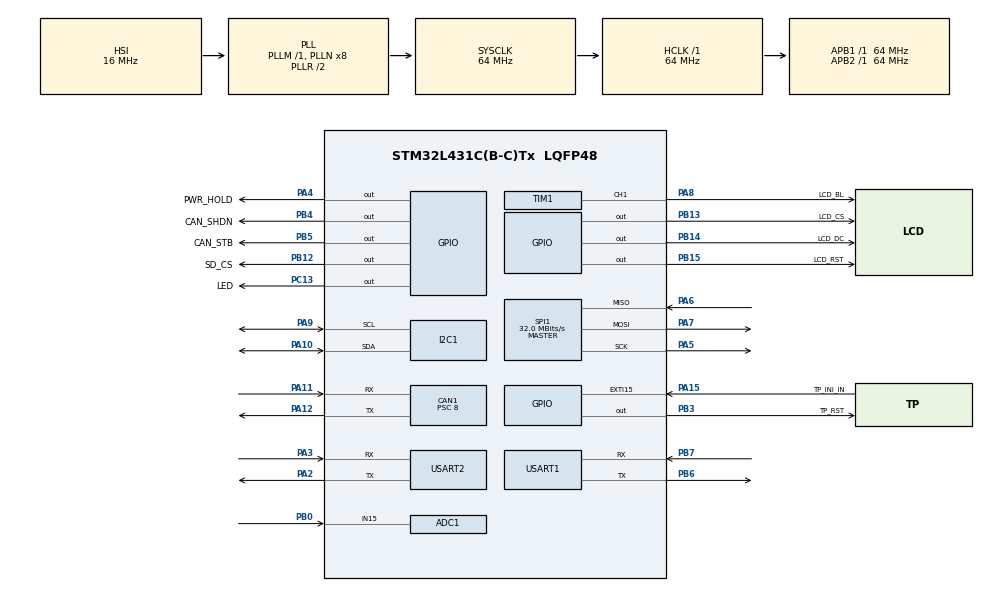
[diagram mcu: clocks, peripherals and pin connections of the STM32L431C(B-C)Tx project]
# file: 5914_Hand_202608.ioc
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ADC1.Channel-1\#ChannelRegularConversion=ADC_CHANNEL_15
ADC1.ClockPrescaler=ADC_CLOCK_ASYNC_DIV256
ADC1.ContinuousConvMode=ENABLE
ADC1.DMAContinuousRequests=ENABLE
ADC1.NbrOfConversion=1
ADC1.NbrOfConversionFlag=1
ADC1.OffsetNumber-1\#ChannelRegularConversion=ADC_OFFSET_NONE
ADC1.Rank-1\#ChannelRegularConversion=1
ADC1.SamplingTime-1\#ChannelRegularConversion=ADC_SAMPLETIME_640CYCLES_5
ADC1.master=1
CAN1.BS1=CAN_BS1_10TQ
CAN1.BS2=CAN_BS2_5TQ
CAN1.CalculateBaudRate=500000
CAN1.CalculateTimeBit=2000
CAN1.CalculateTimeQuantum=125.0
CAN1.Prescaler=8
Dma.ADC1.3.Direction=DMA_PERIPH_TO_MEMORY
Dma.ADC1.3.Instance=DMA1_Channel1
Dma.ADC1.3.MemDataAlignment=DMA_MDATAALIGN_HALFWORD
Dma.ADC1.3.MemInc=DMA_MINC_ENABLE
Dma.ADC1.3.Mode=DMA_CIRCULAR
Dma.ADC1.3.PeriphDataAlignment=DMA_PDATAALIGN_HALFWORD
Dma.ADC1.3.PeriphInc=DMA_PINC_DISABLE
Dma.ADC1.3.Priority=DMA_PRIORITY_LOW
Dma.Request0=SPI1_TX
Dma.Request1=USART1_TX
Dma.Request2=USART2_TX
Dma.Request3=ADC1
Dma.Request4=USART2_RX
Dma.Request5=USART1_RX
Dma.SPI1_TX.0.Direction=DMA_MEMORY_TO_PERIPH
Dma.SPI1_TX.0.Instance=DMA1_Channel3
Dma.SPI1_TX.0.MemDataAlignment=DMA_MDATAALIGN_BYTE
Dma.SPI1_TX.0.MemInc=DMA_MINC_ENABLE
Dma.SPI1_TX.0.Mode=DMA_NORMAL
Dma.SPI1_TX.0.PeriphDataAlignment=DMA_PDATAALIGN_BYTE
Dma.SPI1_TX.0.PeriphInc=DMA_PINC_DISABLE
Dma.SPI1_TX.0.Priority=DMA_PRIORITY_LOW
Dma.USART1_RX.5.Direction=DMA_PERIPH_TO_MEMORY
Dma.USART1_RX.5.Instance=DMA1_Channel5
Dma.USART1_RX.5.MemDataAlignment=DMA_MDATAALIGN_BYTE
Dma.USART1_RX.5.MemInc=DMA_MINC_ENABLE
Dma.USART1_RX.5.Mode=DMA_NORMAL
Dma.USART1_RX.5.PeriphDataAlignment=DMA_PDATAALIGN_BYTE
Dma.USART1_RX.5.PeriphInc=DMA_PINC_DISABLE
Dma.USART1_RX.5.Priority=DMA_PRIORITY_LOW
Dma.USART1_TX.1.Direction=DMA_MEMORY_TO_PERIPH
Dma.USART1_TX.1.Instance=DMA1_Channel4
Dma.USART1_TX.1.MemDataAlignment=DMA_MDATAALIGN_BYTE
Dma.USART1_TX.1.MemInc=DMA_MINC_ENABLE
Dma.USART1_TX.1.Mode=DMA_NORMAL
Dma.USART1_TX.1.PeriphDataAlignment=DMA_PDATAALIGN_BYTE
Dma.USART1_TX.1.PeriphInc=DMA_PINC_DISABLE
Dma.USART1_TX.1.Priority=DMA_PRIORITY_LOW
Dma.USART2_RX.4.Direction=DMA_PERIPH_TO_MEMORY
Dma.USART2_RX.4.Instance=DMA1_Channel6
Dma.USART2_RX.4.MemDataAlignment=DMA_MDATAALIGN_BYTE
Dma.USART2_RX.4.MemInc=DMA_MINC_ENABLE
Dma.USART2_RX.4.Mode=DMA_NORMAL
Dma.USART2_RX.4.PeriphDataAlignment=DMA_PDATAALIGN_BYTE
Dma.USART2_RX.4.PeriphInc=DMA_PINC_DISABLE
Dma.USART2_RX.4.Priority=DMA_PRIORITY_LOW
Dma.USART2_TX.2.Direction=DMA_MEMORY_TO_PERIPH
Dma.USART2_TX.2.Instance=DMA1_Channel7
Dma.USART2_TX.2.MemDataAlignment=DMA_MDATAALIGN_BYTE
Dma.USART2_TX.2.MemInc=DMA_MINC_ENABLE
Dma.USART2_TX.2.Mode=DMA_NORMAL
Dma.USART2_TX.2.PeriphDataAlignment=DMA_PDATAALIGN_BYTE
Dma.USART2_TX.2.PeriphInc=DMA_PINC_DISABLE
Dma.USART2_TX.2.Priority=DMA_PRIORITY_LOW
FATFS._MAX_SS=4096
FATFS._USE_LFN=1
I2C1.Timing=0x10B17DB5
Mcu.Family=STM32L4
Mcu.Name=STM32L431C(B-C)Tx
Mcu.Package=LQFP48
NVIC.ADC1_IRQn=true\:0\:0\:false\:false\:true\:true\:true\:true
NVIC.DMA1_Channel1_IRQn=true\:0\:0\:false\:false\:true\:false\:true\:true
NVIC.DMA1_Channel3_IRQn=true\:0\:0\:false\:false\:true\:false\:true\:true
NVIC.DMA1_Channel4_IRQn=true\:0\:0\:false\:false\:true\:false\:true\:true
NVIC.DMA1_Channel5_IRQn=true\:0\:0\:false\:false\:true\:false\:true\:true
NVIC.DMA1_Channel6_IRQn=true\:0\:0\:false\:false\:true\:false\:true\:true
NVIC.DMA1_Channel7_IRQn=true\:0\:0\:false\:false\:true\:false\:true\:true
NVIC.EXTI15_10_IRQn=true\:0\:0\:false\:false\:true\:true\:true\:true
NVIC.PriorityGroup=NVIC_PRIORITYGROUP_4
NVIC.SPI1_IRQn=true\:0\:0\:false\:false\:true\:true\:true\:true
NVIC.USART1_IRQn=true\:0\:0\:false\:false\:true\:false\:true\:true
NVIC.USART2_IRQn=true\:0\:0\:false\:false\:true\:false\:true\:true
PA10.Mode=I2C
PA10.Signal=I2C1_SDA
PA11.Mode=CAN_Activate
PA11.Signal=CAN1_RX
PA12.Mode=CAN_Activate
PA12.Signal=CAN1_TX
PA13\ (JTMS-SWDIO).Mode=Serial_Wire
PA13\ (JTMS-SWDIO).Signal=SYS_JTMS-SWDIO
PA14\ (JTCK-SWCLK).Mode=Serial_Wire
PA14\ (JTCK-SWCLK).Signal=SYS_JTCK-SWCLK
PA15\ (JTDI).GPIO_Label=TP_INI_IN
PA15\ (JTDI).Signal=GPXTI15
PA2.Mode=Asynchronous
PA2.Signal=USART2_TX
PA3.Mode=Asynchronous
PA3.Signal=USART2_RX
PA4.GPIO_Label=PWR_HOLD
PA4.Signal=GPIO_Output
PA5.GPIO_PuPd=GPIO_PULLUP
PA5.Mode=Full_Duplex_Master
PA5.Signal=SPI1_SCK
PA6.GPIO_PuPd=GPIO_PULLUP
PA6.Mode=Full_Duplex_Master
PA6.Signal=SPI1_MISO
PA7.GPIO_PuPd=GPIO_PULLUP
PA7.Mode=Full_Duplex_Master
PA7.Signal=SPI1_MOSI
PA8.GPIO_Label=LCD_BL
PA8.Signal=S_TIM1_CH1
PA9.Mode=I2C
PA9.Signal=I2C1_SCL
PB0.Signal=ADCx_IN15
PB12.GPIO_Label=SD_CS
PB12.PinState=GPIO_PIN_SET
PB12.Signal=GPIO_Output
PB13.GPIO_Label=LCD_CS
PB13.PinState=GPIO_PIN_SET
PB13.Signal=GPIO_Output
PB14.GPIO_Label=LCD_DC
PB14.Signal=GPIO_Output
PB15.GPIO_Label=LCD_RST
PB15.Signal=GPIO_Output
PB3\ (JTDO-TRACESWO).GPIO_Label=TP_RST
PB3\ (JTDO-TRACESWO).Signal=GPIO_Output
PB4\ (NJTRST).GPIO_Label=CAN_SHDN
PB4\ (NJTRST).Signal=GPIO_Output
PB5.GPIO_Label=CAN_STB
PB5.Signal=GPIO_Output
PB6.Mode=Asynchronous
PB6.Signal=USART1_TX
PB7.Mode=Asynchronous
PB7.Signal=USART1_RX
PC13.GPIO_Label=LED
PC13.Signal=GPIO_Output
PC14-OSC32_IN\ (PC14).Mode=LSE-External-Oscillator
PC14-OSC32_IN\ (PC14).Signal=RCC_OSC32_IN
PC15-OSC32_OUT\ (PC15).Mode=LSE-External-Oscillator
PC15-OSC32_OUT\ (PC15).Signal=RCC_OSC32_OUT
ProjectManager.HeapSize=0x200
ProjectManager.StackSize=0x400
ProjectManager.TargetToolchain=STM32CubeIDE
RCC.ADCFreq_Value=64000000
RCC.AHBFreq_Value=64000000
RCC.APB1Freq_Value=64000000
RCC.APB1TimFreq_Value=64000000
RCC.APB2Freq_Value=64000000
RCC.APB2TimFreq_Value=64000000
RCC.CortexFreq_Value=64000000
RCC.HCLKFreq_Value=64000000
RCC.HSE_VALUE=8000000
RCC.HSI48_VALUE=48000000
RCC.HSI_VALUE=16000000
RCC.MSI_VALUE=4000000
RCC.PLLSourceVirtual=RCC_PLLSOURCE_HSI
RCC.RTCClockSelection=RCC_RTCCLKSOURCE_LSE
RCC.SYSCLKFreq_VALUE=64000000
RCC.SYSCLKSource=RCC_SYSCLKSOURCE_PLLCLK
RCC.VCOOutputFreq_Value=128000000
SH.ADCx_IN15.0=ADC1_IN15,IN15-Single-Ended
SH.S_TIM1_CH1.0=TIM1_CH1,PWM Generation1 CH1
SPI1.BaudRatePrescaler=SPI_BAUDRATEPRESCALER_2
SPI1.CalculateBaudRate=32.0 MBits/s
SPI1.DataSize=SPI_DATASIZE_8BIT
SPI1.Direction=SPI_DIRECTION_2LINES
SPI1.Mode=SPI_MODE_MASTER
SPI1.VirtualType=VM_MASTER
TIM1.Channel-PWM\ Generation1\ CH1=TIM_CHANNEL_1
TIM1.Period=1000 - 1
TIM1.Prescaler=300 - 1
USART1.VirtualMode-Asynchronous=VM_ASYNC
USART2.VirtualMode-Asynchronous=VM_ASYNC
VP_FATFS_VS_Generic.Mode=User_defined
VP_RTC_VS_RTC_Activate.Mode=RTC_Enabled
VP_TIM1_VS_ClockSourceINT.Mode=Internal
board=custom

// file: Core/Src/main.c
/* USER CODE BEGIN Header */
/**	Project	-	5914_Hand_202607	(Formerly 5914_Bt_Remote_202512)
 *
 * On GitHub	-	https://github.com/Jons-Workshop/5914_Bt_Remote_202512.git *** PLEASE UPDATE ***
 *
 * 	Author	-	Jon Freeman  B Eng Hons MIET
 * 	16th July 2026
 *
 *	//	This is the Bluetooth Hand Controller with 320x480 Graphic Touch Screen
 *
 *	No eeprom or 'settings' here. Any required will be supplied over bluetooth from Bluetooth_HC_Loco_Interface_202508 unit
 *
 * https://www.waveshare.com/3.5inch-Capacitive-Touch-LCD.htm
 * https://www.buydisplay.com/download/ic/FT6236-FT6336-FT6436L-FT6436_Datasheet.pdf
 *
 * 3.5inch Capacitive Touch Display Module, 320×480 Resolution,
 * Embedded with ST7796S Display Driver and FT6336U Capacitive Touch Controller, IPS Display
 *
 * Note 3V3 and Vcc both to +3V3.
 * SPI "Transmit Only Master", using DMA for very fast display updates
 * July 12th 2026 SPI now *Full Duplex Master* DMA Tx+Rx to include use of SD card mounted on display. Looking at FAT file system
 *
 * July 2026 - Proper PCB design done at last. Powered by 3v7 lithium 18650 cell
 * New output to EN of regulator so that unit can switch itself off
 *
 *	***	How do HC and LC connect ?	***
 *
 *	Arbitrary decisions,
 *	Bluetooth modules are 'paired', we have no control over their 'connecting' process. Connection only proved by working comms.
 *	HC to issue "p/r" speculatively maybe 20 times per second whenever not connected. This is our 'ping'.
 *	LC receiving "p/r" to echo "p/r".
 *	HC receiving "p/r" increments 'received_pings', which means must be 'Connected'
 *
 *	LC/HC to assume no comms from HC/LC for > ?? ms means 'Disconnected'
 *
 *
 *
  ******************************************************************************
  * @file           : main.c
  * @brief          : Main program body
  ******************************************************************************
  * @attention
  *
  * Copyright (c) 2026 STMicroelectronics.
  * All rights reserved.
  *
  * This software is licensed under terms that can be found in the LICENSE file
  * in the root directory of this software component.
  * If no LICENSE file comes with this software, it is provided AS-IS.
  *
  ******************************************************************************
  */
/* USER CODE END Header */
#include "main.h"
#include "fatfs.h"

/* USER CODE BEGIN Includes */
#include	<stdbool.h>
#include	"st7796s.h"		//	Display Driver IC
#include	"colours.h"
#include	"fonts.h"
#include	<string.h>
#include	<math.h>

/* USER CODE END Includes */

/* USER CODE BEGIN PM */
//#define FT6X36_ID    0xCDU	//	Wrong
#define FT6X36_ID      0x70		//	Found by testing all possible addresses, this was the sole responder to pull 'ACK' low
#define	PROPER_PCB	*****	SEE main.h	*****	for #defines for all sorts

#ifdef	PROPER_PCB
#define	TS_INT_IN_PIN	GPIO_PIN_15
#else
#define	TS_INT_IN_PIN	GPIO_PIN_0
#endif

/* USER CODE END PM */

ADC_HandleTypeDef hadc1;
DMA_HandleTypeDef hdma_adc1;

CAN_HandleTypeDef hcan1;

I2C_HandleTypeDef hi2c1;

RTC_HandleTypeDef hrtc;

SPI_HandleTypeDef hspi1;
DMA_HandleTypeDef hdma_spi1_tx;

TIM_HandleTypeDef htim1;

UART_HandleTypeDef huart1;
UART_HandleTypeDef huart2;
DMA_HandleTypeDef hdma_usart1_tx;
DMA_HandleTypeDef hdma_usart1_rx;
DMA_HandleTypeDef hdma_usart2_tx;
DMA_HandleTypeDef hdma_usart2_rx;

/* USER CODE BEGIN PV */
uint32_t	touch_time	= 0 ;
uint32_t	exti_cnt = 0;
uint32_t	spi_tx_cplt_callback_cnt	= 0	;
bool		spi_tx_cplt = true;
bool		exti_flag = false;
bool		Bluetooth_connected_pres = false;
bool		Bluetooth_connected_prev = false;
bool	quarter_sec;
bool	ms10;

float	V_Loco_Batt = 0.0;
float	V_HC_Batt = 0.0;
float	I_Loco_Batt = 0.0;
float	Loco_Speed = 0.0;

/* USER CODE END PV */

void SystemClock_Config(void);
static void MX_GPIO_Init(void);
static void MX_DMA_Init(void);
static void MX_SPI1_Init(void);
static void MX_I2C1_Init(void);
static void MX_RTC_Init(void);
static void MX_TIM1_Init(void);
static void MX_USART1_UART_Init(void);
static void MX_USART2_UART_Init(void);
static void MX_CAN1_Init(void);
static void MX_ADC1_Init(void);
/* USER CODE BEGIN PFP */

void 	st7796_init(void)	;	//	Display Driver IC
void	spi_tx	(uint8_t * pData, uint16_t Size)	;
bool	DrawBar	(size_t Xstart, size_t Ystart, size_t Xend, size_t Yend, uint16_t Colour)	;
bool	DrawString	(size_t const x, size_t const y, const char * const str, sFONT* Font, uint16_t const BG_Col, uint16_t const FG_Col)	;

extern	void	ForeverLoop	()	;

/* USER CODE END PFP */

int main(void)
{

  /* MCU Configuration--------------------------------------------------------*/

  /* Reset of all peripherals, Initializes the Flash interface and the Systick. */
  HAL_Init();

  /* Configure the system clock */
  SystemClock_Config();

  /* Initialize all configured peripherals */
  MX_GPIO_Init();
  MX_DMA_Init();
  MX_SPI1_Init();
  MX_I2C1_Init();
  MX_RTC_Init();
  MX_TIM1_Init();
  MX_USART1_UART_Init();
  MX_USART2_UART_Init();
  MX_CAN1_Init();
  MX_FATFS_Init();
  MX_ADC1_Init();
  /* USER CODE BEGIN 2 */

  HAL_TIM_PWM_Start	(&htim1, TIM_CHANNEL_1);	//	pwm for LCD backlight
//  HAL_GPIO_WritePin(PWR_HOLD_GPIO_Port, PWR_HOLD_Pin, GPIO_PIN_SET);	//	Latch power ON
  st7796_init	();	//	Display Driver IC
  TIM1->CCR1 = 980;	//	display bril 0 - 999
//  display_test	();

  ForeverLoop	()	;

  /* USER CODE END 2 */

  /* Infinite loop */
  /* USER CODE BEGIN WHILE */
  while (1)
  {
//	  HAL_GPIO_WritePin(LED_GPIO_Port, LED_Pin, GPIO_PIN_RESET);
//	  HAL_Delay	(200);
//	  HAL_GPIO_WritePin(LED_GPIO_Port, LED_Pin, GPIO_PIN_SET);
//	  HAL_Delay	(200);
    /* USER CODE END WHILE */

  }
}

void SystemClock_Config(void)
{
  RCC_OscInitTypeDef RCC_OscInitStruct = {0};
  RCC_ClkInitTypeDef RCC_ClkInitStruct = {0};

  /** Configure the main internal regulator output voltage
  */
  if (HAL_PWREx_ControlVoltageScaling(PWR_REGULATOR_VOLTAGE_SCALE1) != HAL_OK)
  {
    Error_Handler();
  }

  /** Configure LSE Drive Capability
  */
  HAL_PWR_EnableBkUpAccess();
  __HAL_RCC_LSEDRIVE_CONFIG(RCC_LSEDRIVE_LOW);

  /** Initializes the RCC Oscillators according to the specified parameters
  * in the RCC_OscInitTypeDef structure.
  */
  RCC_OscInitStruct.OscillatorType = RCC_OSCILLATORTYPE_HSI|RCC_OSCILLATORTYPE_LSE;
  RCC_OscInitStruct.LSEState = RCC_LSE_ON;
  RCC_OscInitStruct.HSIState = RCC_HSI_ON;
  RCC_OscInitStruct.HSICalibrationValue = RCC_HSICALIBRATION_DEFAULT;
  RCC_OscInitStruct.PLL.PLLState = RCC_PLL_ON;
  RCC_OscInitStruct.PLL.PLLSource = RCC_PLLSOURCE_HSI;
  RCC_OscInitStruct.PLL.PLLM = 1;
  RCC_OscInitStruct.PLL.PLLN = 8;
  RCC_OscInitStruct.PLL.PLLP = RCC_PLLP_DIV7;
  RCC_OscInitStruct.PLL.PLLQ = RCC_PLLQ_DIV2;
  RCC_OscInitStruct.PLL.PLLR = RCC_PLLR_DIV2;
  if (HAL_RCC_OscConfig(&RCC_OscInitStruct) != HAL_OK)
  {
    Error_Handler();
  }

  /** Initializes the CPU, AHB and APB buses clocks
  */
  RCC_ClkInitStruct.ClockType = RCC_CLOCKTYPE_HCLK|RCC_CLOCKTYPE_SYSCLK
                              |RCC_CLOCKTYPE_PCLK1|RCC_CLOCKTYPE_PCLK2;
  RCC_ClkInitStruct.SYSCLKSource = RCC_SYSCLKSOURCE_PLLCLK;
  RCC_ClkInitStruct.AHBCLKDivider = RCC_SYSCLK_DIV1;
  RCC_ClkInitStruct.APB1CLKDivider = RCC_HCLK_DIV1;
  RCC_ClkInitStruct.APB2CLKDivider = RCC_HCLK_DIV1;

  if (HAL_RCC_ClockConfig(&RCC_ClkInitStruct, FLASH_LATENCY_3) != HAL_OK)
  {
    Error_Handler();
  }
}

static void MX_ADC1_Init(void)
{

  ADC_ChannelConfTypeDef sConfig = {0};

  /** Common config
  */
  hadc1.Instance = ADC1;
  hadc1.Init.ClockPrescaler = ADC_CLOCK_ASYNC_DIV256;
  hadc1.Init.Resolution = ADC_RESOLUTION_12B;
  hadc1.Init.DataAlign = ADC_DATAALIGN_RIGHT;
  hadc1.Init.ScanConvMode = ADC_SCAN_DISABLE;
  hadc1.Init.EOCSelection = ADC_EOC_SINGLE_CONV;
  hadc1.Init.LowPowerAutoWait = DISABLE;
  hadc1.Init.ContinuousConvMode = ENABLE;
  hadc1.Init.NbrOfConversion = 1;
  hadc1.Init.DiscontinuousConvMode = DISABLE;
  hadc1.Init.ExternalTrigConv = ADC_SOFTWARE_START;
  hadc1.Init.ExternalTrigConvEdge = ADC_EXTERNALTRIGCONVEDGE_NONE;
  hadc1.Init.DMAContinuousRequests = ENABLE;
  hadc1.Init.Overrun = ADC_OVR_DATA_PRESERVED;
  hadc1.Init.OversamplingMode = DISABLE;
  if (HAL_ADC_Init(&hadc1) != HAL_OK)
  {
    Error_Handler();
  }

  /** Configure Regular Channel
  */
  sConfig.Channel = ADC_CHANNEL_15;
  sConfig.Rank = ADC_REGULAR_RANK_1;
  sConfig.SamplingTime = ADC_SAMPLETIME_640CYCLES_5;
  sConfig.SingleDiff = ADC_SINGLE_ENDED;
  sConfig.OffsetNumber = ADC_OFFSET_NONE;
  sConfig.Offset = 0;
  if (HAL_ADC_ConfigChannel(&hadc1, &sConfig) != HAL_OK)
  {
    Error_Handler();
  }

}

static void MX_CAN1_Init(void)
{

  hcan1.Instance = CAN1;
  hcan1.Init.Prescaler = 8;
  hcan1.Init.Mode = CAN_MODE_NORMAL;
  hcan1.Init.SyncJumpWidth = CAN_SJW_1TQ;
  hcan1.Init.TimeSeg1 = CAN_BS1_10TQ;
  hcan1.Init.TimeSeg2 = CAN_BS2_5TQ;
  hcan1.Init.TimeTriggeredMode = DISABLE;
  hcan1.Init.AutoBusOff = DISABLE;
  hcan1.Init.AutoWakeUp = DISABLE;
  hcan1.Init.AutoRetransmission = DISABLE;
  hcan1.Init.ReceiveFifoLocked = DISABLE;
  hcan1.Init.TransmitFifoPriority = DISABLE;
  if (HAL_CAN_Init(&hcan1) != HAL_OK)
  {
    Error_Handler();
  }

}

static void MX_I2C1_Init(void)
{

  hi2c1.Instance = I2C1;
  hi2c1.Init.Timing = 0x10B17DB5;
  hi2c1.Init.OwnAddress1 = 0;
  hi2c1.Init.AddressingMode = I2C_ADDRESSINGMODE_7BIT;
  hi2c1.Init.DualAddressMode = I2C_DUALADDRESS_DISABLE;
  hi2c1.Init.OwnAddress2 = 0;
  hi2c1.Init.OwnAddress2Masks = I2C_OA2_NOMASK;
  hi2c1.Init.GeneralCallMode = I2C_GENERALCALL_DISABLE;
  hi2c1.Init.NoStretchMode = I2C_NOSTRETCH_DISABLE;
  if (HAL_I2C_Init(&hi2c1) != HAL_OK)
  {
    Error_Handler();
  }

  /** Configure Analogue filter
  */
  if (HAL_I2CEx_ConfigAnalogFilter(&hi2c1, I2C_ANALOGFILTER_ENABLE) != HAL_OK)
  {
    Error_Handler();
  }

  /** Configure Digital filter
  */
  if (HAL_I2CEx_ConfigDigitalFilter(&hi2c1, 0) != HAL_OK)
  {
    Error_Handler();
  }

}

static void MX_RTC_Init(void)
{

  /** Initialize RTC Only
  */
  hrtc.Instance = RTC;
  hrtc.Init.HourFormat = RTC_HOURFORMAT_24;
  hrtc.Init.AsynchPrediv = 127;
  hrtc.Init.SynchPrediv = 255;
  hrtc.Init.OutPut = RTC_OUTPUT_DISABLE;
  hrtc.Init.OutPutRemap = RTC_OUTPUT_REMAP_NONE;
  hrtc.Init.OutPutPolarity = RTC_OUTPUT_POLARITY_HIGH;
  hrtc.Init.OutPutType = RTC_OUTPUT_TYPE_OPENDRAIN;
  if (HAL_RTC_Init(&hrtc) != HAL_OK)
  {
    Error_Handler();
  }

}

static void MX_SPI1_Init(void)
{

  /* SPI1 parameter configuration*/
  hspi1.Instance = SPI1;
  hspi1.Init.Mode = SPI_MODE_MASTER;
  hspi1.Init.Direction = SPI_DIRECTION_2LINES;
  hspi1.Init.DataSize = SPI_DATASIZE_8BIT;
  hspi1.Init.CLKPolarity = SPI_POLARITY_LOW;
  hspi1.Init.CLKPhase = SPI_PHASE_1EDGE;
  hspi1.Init.NSS = SPI_NSS_SOFT;
  hspi1.Init.BaudRatePrescaler = SPI_BAUDRATEPRESCALER_2;
  hspi1.Init.FirstBit = SPI_FIRSTBIT_MSB;
  hspi1.Init.TIMode = SPI_TIMODE_DISABLE;
  hspi1.Init.CRCCalculation = SPI_CRCCALCULATION_DISABLE;
  hspi1.Init.CRCPolynomial = 7;
  hspi1.Init.CRCLength = SPI_CRC_LENGTH_DATASIZE;
  hspi1.Init.NSSPMode = SPI_NSS_PULSE_ENABLE;
  if (HAL_SPI_Init(&hspi1) != HAL_OK)
  {
    Error_Handler();
  }

}

static void MX_TIM1_Init(void)
{

  TIM_ClockConfigTypeDef sClockSourceConfig = {0};
  TIM_MasterConfigTypeDef sMasterConfig = {0};
  TIM_OC_InitTypeDef sConfigOC = {0};
  TIM_BreakDeadTimeConfigTypeDef sBreakDeadTimeConfig = {0};

  htim1.Instance = TIM1;
  htim1.Init.Prescaler = 300 - 1;
  htim1.Init.CounterMode = TIM_COUNTERMODE_UP;
  htim1.Init.Period = 1000 - 1;
  htim1.Init.ClockDivision = TIM_CLOCKDIVISION_DIV1;
  htim1.Init.RepetitionCounter = 0;
  htim1.Init.AutoReloadPreload = TIM_AUTORELOAD_PRELOAD_DISABLE;
  if (HAL_TIM_Base_Init(&htim1) != HAL_OK)
  {
    Error_Handler();
  }
  sClockSourceConfig.ClockSource = TIM_CLOCKSOURCE_INTERNAL;
  if (HAL_TIM_ConfigClockSource(&htim1, &sClockSourceConfig) != HAL_OK)
  {
    Error_Handler();
  }
  if (HAL_TIM_PWM_Init(&htim1) != HAL_OK)
  {
    Error_Handler();
  }
  sMasterConfig.MasterOutputTrigger = TIM_TRGO_RESET;
  sMasterConfig.MasterOutputTrigger2 = TIM_TRGO2_RESET;
  sMasterConfig.MasterSlaveMode = TIM_MASTERSLAVEMODE_DISABLE;
  if (HAL_TIMEx_MasterConfigSynchronization(&htim1, &sMasterConfig) != HAL_OK)
  {
    Error_Handler();
  }
  sConfigOC.OCMode = TIM_OCMODE_PWM1;
  sConfigOC.Pulse = 0;
  sConfigOC.OCPolarity = TIM_OCPOLARITY_HIGH;
  sConfigOC.OCNPolarity = TIM_OCNPOLARITY_HIGH;
  sConfigOC.OCFastMode = TIM_OCFAST_DISABLE;
  sConfigOC.OCIdleState = TIM_OCIDLESTATE_RESET;
  sConfigOC.OCNIdleState = TIM_OCNIDLESTATE_RESET;
  if (HAL_TIM_PWM_ConfigChannel(&htim1, &sConfigOC, TIM_CHANNEL_1) != HAL_OK)
  {
    Error_Handler();
  }
  sBreakDeadTimeConfig.OffStateRunMode = TIM_OSSR_DISABLE;
  sBreakDeadTimeConfig.OffStateIDLEMode = TIM_OSSI_DISABLE;
  sBreakDeadTimeConfig.LockLevel = TIM_LOCKLEVEL_OFF;
  sBreakDeadTimeConfig.DeadTime = 0;
  sBreakDeadTimeConfig.BreakState = TIM_BREAK_DISABLE;
  sBreakDeadTimeConfig.BreakPolarity = TIM_BREAKPOLARITY_HIGH;
  sBreakDeadTimeConfig.BreakFilter = 0;
  sBreakDeadTimeConfig.Break2State = TIM_BREAK2_DISABLE;
  sBreakDeadTimeConfig.Break2Polarity = TIM_BREAK2POLARITY_HIGH;
  sBreakDeadTimeConfig.Break2Filter = 0;
  sBreakDeadTimeConfig.AutomaticOutput = TIM_AUTOMATICOUTPUT_DISABLE;
  if (HAL_TIMEx_ConfigBreakDeadTime(&htim1, &sBreakDeadTimeConfig) != HAL_OK)
  {
    Error_Handler();
  }
  HAL_TIM_MspPostInit(&htim1);

}

static void MX_USART1_UART_Init(void)
{

  huart1.Instance = USART1;
  huart1.Init.BaudRate = 115200;
  huart1.Init.WordLength = UART_WORDLENGTH_8B;
  huart1.Init.StopBits = UART_STOPBITS_1;
  huart1.Init.Parity = UART_PARITY_NONE;
  huart1.Init.Mode = UART_MODE_TX_RX;
  huart1.Init.HwFlowCtl = UART_HWCONTROL_NONE;
  huart1.Init.OverSampling = UART_OVERSAMPLING_16;
  huart1.Init.OneBitSampling = UART_ONE_BIT_SAMPLE_DISABLE;
  huart1.AdvancedInit.AdvFeatureInit = UART_ADVFEATURE_NO_INIT;
  if (HAL_UART_Init(&huart1) != HAL_OK)
  {
    Error_Handler();
  }

}

static void MX_USART2_UART_Init(void)
{

  huart2.Instance = USART2;
  huart2.Init.BaudRate = 115200;
  huart2.Init.WordLength = UART_WORDLENGTH_8B;
  huart2.Init.StopBits = UART_STOPBITS_1;
  huart2.Init.Parity = UART_PARITY_NONE;
  huart2.Init.Mode = UART_MODE_TX_RX;
  huart2.Init.HwFlowCtl = UART_HWCONTROL_NONE;
  huart2.Init.OverSampling = UART_OVERSAMPLING_16;
  huart2.Init.OneBitSampling = UART_ONE_BIT_SAMPLE_DISABLE;
  huart2.AdvancedInit.AdvFeatureInit = UART_ADVFEATURE_NO_INIT;
  if (HAL_UART_Init(&huart2) != HAL_OK)
  {
    Error_Handler();
  }

}

static void MX_DMA_Init(void)
{

  /* DMA controller clock enable */
  __HAL_RCC_DMA1_CLK_ENABLE();

  /* DMA interrupt init */
  /* DMA1_Channel1_IRQn interrupt configuration */
  HAL_NVIC_SetPriority(DMA1_Channel1_IRQn, 0, 0);
  HAL_NVIC_EnableIRQ(DMA1_Channel1_IRQn);
  /* DMA1_Channel3_IRQn interrupt configuration */
  HAL_NVIC_SetPriority(DMA1_Channel3_IRQn, 0, 0);
  HAL_NVIC_EnableIRQ(DMA1_Channel3_IRQn);
  /* DMA1_Channel4_IRQn interrupt configuration */
  HAL_NVIC_SetPriority(DMA1_Channel4_IRQn, 0, 0);
  HAL_NVIC_EnableIRQ(DMA1_Channel4_IRQn);
  /* DMA1_Channel5_IRQn interrupt configuration */
  HAL_NVIC_SetPriority(DMA1_Channel5_IRQn, 0, 0);
  HAL_NVIC_EnableIRQ(DMA1_Channel5_IRQn);
  /* DMA1_Channel6_IRQn interrupt configuration */
  HAL_NVIC_SetPriority(DMA1_Channel6_IRQn, 0, 0);
  HAL_NVIC_EnableIRQ(DMA1_Channel6_IRQn);
  /* DMA1_Channel7_IRQn interrupt configuration */
  HAL_NVIC_SetPriority(DMA1_Channel7_IRQn, 0, 0);
  HAL_NVIC_EnableIRQ(DMA1_Channel7_IRQn);

}

static void MX_GPIO_Init(void)
{
  GPIO_InitTypeDef GPIO_InitStruct = {0};

  /* GPIO Ports Clock Enable */
  __HAL_RCC_GPIOC_CLK_ENABLE();
  __HAL_RCC_GPIOA_CLK_ENABLE();
  __HAL_RCC_GPIOB_CLK_ENABLE();

  /*Configure GPIO pin Output Level */
  HAL_GPIO_WritePin(LED_GPIO_Port, LED_Pin, GPIO_PIN_RESET);

  /*Configure GPIO pin Output Level */
  HAL_GPIO_WritePin(PWR_HOLD_GPIO_Port, PWR_HOLD_Pin, GPIO_PIN_RESET);

  /*Configure GPIO pin Output Level */
  HAL_GPIO_WritePin(GPIOB, SD_CS_Pin|LCD_CS_Pin, GPIO_PIN_SET);

  /*Configure GPIO pin Output Level */
  HAL_GPIO_WritePin(GPIOB, LCD_DC_Pin|LCD_RST_Pin|TP_RST_Pin|CAN_SHDN_Pin
                          |CAN_STB_Pin, GPIO_PIN_RESET);

  /*Configure GPIO pin : LED_Pin */
  GPIO_InitStruct.Pin = LED_Pin;
  GPIO_InitStruct.Mode = GPIO_MODE_OUTPUT_PP;
  GPIO_InitStruct.Pull = GPIO_NOPULL;
  GPIO_InitStruct.Speed = GPIO_SPEED_FREQ_LOW;
  HAL_GPIO_Init(LED_GPIO_Port, &GPIO_InitStruct);

  /*Configure GPIO pin : PWR_HOLD_Pin */
  GPIO_InitStruct.Pin = PWR_HOLD_Pin;
  GPIO_InitStruct.Mode = GPIO_MODE_OUTPUT_PP;
  GPIO_InitStruct.Pull = GPIO_NOPULL;
  GPIO_InitStruct.Speed = GPIO_SPEED_FREQ_LOW;
  HAL_GPIO_Init(PWR_HOLD_GPIO_Port, &GPIO_InitStruct);

  /*Configure GPIO pins : SD_CS_Pin LCD_CS_Pin LCD_DC_Pin LCD_RST_Pin
                           TP_RST_Pin CAN_SHDN_Pin CAN_STB_Pin */
  GPIO_InitStruct.Pin = SD_CS_Pin|LCD_CS_Pin|LCD_DC_Pin|LCD_RST_Pin
                          |TP_RST_Pin|CAN_SHDN_Pin|CAN_STB_Pin;
  GPIO_InitStruct.Mode = GPIO_MODE_OUTPUT_PP;
  GPIO_InitStruct.Pull = GPIO_NOPULL;
  GPIO_InitStruct.Speed = GPIO_SPEED_FREQ_LOW;
  HAL_GPIO_Init(GPIOB, &GPIO_InitStruct);

  /*Configure GPIO pin : TP_INI_IN_Pin */
  GPIO_InitStruct.Pin = TP_INI_IN_Pin;
  GPIO_InitStruct.Mode = GPIO_MODE_IT_RISING;
  GPIO_InitStruct.Pull = GPIO_NOPULL;
  HAL_GPIO_Init(TP_INI_IN_GPIO_Port, &GPIO_InitStruct);

  /* EXTI interrupt init*/
  HAL_NVIC_SetPriority(EXTI15_10_IRQn, 0, 0);
  HAL_NVIC_EnableIRQ(EXTI15_10_IRQn);

}

/* USER CODE BEGIN 4 */

/*		bool	set_spi_prsc	(uint16_t	val)	;	//	New June 2026 ready for SD card stuff
 * 	Use val = 2, 4, 8, 16, 32, 64, 128 or 256
 * 	Returns false on input error
 */
bool	set_spi_prsc	(uint16_t	val)	{
	bool	rv = true	;
	uint16_t	tmp = SPI1->CR1;
	tmp &= 0xffc7;		//	zero bits 5, 4, 3
	switch	(val)	{	//	Note: These bits should not be changed when communication is ongoing.
	case	2:	//	done for case fPCLK / 2	40MHz
		break;
	case	4:
		tmp |= 0x0008;	//	done for case fPCLK / 4		20 MHz
		break;
	case	8:
		tmp |= 0x0010;	//	done for case fPCLK / 8		10 MHz
		break;
	case	16:
		tmp |= 0x0018;	//	done for case fPCLK / 16		5 MHz
		break;
	case	32:
		tmp |= 0x0020;	//	done for case fPCLK / 32		2.5 MHz
		break;
	case	64:
		tmp |= 0x0028;	//	done for case fPCLK / 64		1.25 MHz
		break;
	case	128:
		tmp |= 0x0030;	//	done for case fPCLK / 128		62.5	KHz
		break;
	case	256:
		tmp |= 0x0038;	//	done for case fPCLK / 256		31.25	KHz
		break;
	default:		//	val represents none of the above
		rv = false;
		break;
	}	//	End of switch
	if	(rv)
		SPI1->CR1 = tmp;	//	set new SPI prescaler on validated input
	return	(rv);
}

void	st7796s_byte_out	(uint8_t	val)	{	//	Display Driver IC
	spi_tx	(&val, 1);
}

void	st7796s_cmd	(uint8_t cmd)	{	//	Display Driver IC
	LCD_CMD;	//	Command/Data select
	st7796s_byte_out	(cmd);
	LCD_DATA;	//	Command/Data select
}

void	st7796s_data	(uint8_t cmd)	{	//	Display Driver IC
//	LCD_DATA;
	st7796s_byte_out	(cmd);
}

bool	st7796s_column_address_set	(size_t startx, size_t endx)	{
	if	((startx > 319) || (endx > 319) || (endx <= startx))
			return	(false);
	st7796s_cmd		(0x2a);
	st7796s_data	((uint8_t)(startx >> 8));
	st7796s_data	((uint8_t)startx);
	st7796s_data	((uint8_t)(endx >> 8));
	st7796s_data	((uint8_t)endx);
	return	(true);
}

bool	st7796s_row_address_set	(size_t starty, size_t endy)	{
	if	((starty > 479) || (endy > 479) || (endy <= starty))
			return	(false);
	st7796s_cmd		(0x2b);
	st7796s_data	((uint8_t)(starty >> 8));
	st7796s_data	((uint8_t)starty);
	st7796s_data	((uint8_t)(endy >> 8));
	st7796s_data	((uint8_t)endy);
	return	(true);
}

void	LCD_Clear	(uint16_t colour)	{
	DrawBar	(0, 0, LCD_WIDTH - 1, LCD_HEIGHT - 1, colour);
}

bool	st7796s_set_window	(size_t startx, size_t starty, size_t endx, size_t endy)	{
	if	(!st7796s_column_address_set(startx, endx))
		return	(false);
	if	(!st7796s_row_address_set(starty, endy))
		return	(false);
	st7796s_cmd	(0x2c);
	return	(true);
}

void st7796_rst(void)
//void st7796_rst(void)Exit Deep Standby Mode by pull down CSX to low (“0”) 6 times.
{
	for	(int r = 0; r <= 7; r++)	{
		LCD_CS_INACTIVE;
		HAL_Delay	(1);
		LCD_CS_ACTIVE;
		HAL_Delay	(1);
	}
    LCD_RESET_ACTIVE;
    HAL_Delay	(1);	//	Was 120
    LCD_RESET_INACTIVE;
    HAL_Delay	(1);	//	Was 100
}

void st7796_init(void)
{
    st7796_rst();	//	Leaves CS Active
//	   ST77XX_SWRESET,		//	#define ST77XX_SWRESET 0x01
//	   ST_CMD_DELAY, // Software reset#define ST_CMD_DELAY 0x80 // special signifier for command lists
//	   150,
    st7796s_cmd	(ST77XX_SWRESET);	//	It will be necessary to wait 5msec before sending new command following software reset.
    HAL_Delay	(6);				//	5 with a margin

//	   0xF0,	//	CSCON Command Set Control
//	   1, // Unlock manufacturer
//	   0xC3,	//	C3h enable command 2 part 1 (p239)
    st7796s_cmd		(0xf0);
    st7796s_data	(0xc3);

    st7796s_cmd		(0xf0);		//	   0xF0,	//	CSCON Command Set Control
    st7796s_data	(0x96);		//	No idea what this really does

    st7796s_cmd		(0xc5);		//	   0xC5,	//	c5h VCOM Control
    st7796s_data	(0x1c);		//	VCOM = 1.000 No idea what this really does

    st7796s_cmd		(ST77XX_MADCTL);	//	This command defines read/ write scanning direction of frame memory. But what does that mean?
    st7796s_data	(0x48);

    st7796s_cmd		(ST77XX_COLMOD);	//	0x3A Interface Pixel Format
    st7796s_data	(0x55);			//	set 16 bit per pixel

    st7796s_cmd		(0xb0);	//	IFMODE Interface Mode Control	SPI_EN is bit 7 of parameter
    st7796s_data	(0x80);	//	SPI_EN = “1”, DIN/SDA pin is used for 3/4 wire serial interface and DOUT pin is not used.

    st7796s_cmd		(0xb4);	//	DIC Display Inversion Control	Can't see this does anything at all. Left in just in case it does
    st7796s_data	(0x00);	//	0x00

    st7796s_cmd		(0xb6);	//	   0xB6,	//	DFC Display Function Control
    st7796s_data	(0x80);	//	these 3 params 0x80, 0x02, 0x3b are defaults from data sheet
    st7796s_data	(0x02);
    st7796s_data	(0x3b);

    st7796s_cmd		(0xb7);	//	EM Entry Mode Set
    st7796s_data	(0xc6);		//	c6 or 06, makes no difference. Can't see this does anything.

    st7796s_cmd		(0xf0);		//	 CSCON (F0h): Command Set Control
    st7796s_data	(0x69);		//D[7:0] = 69h disable command 2 part II
//	   0xF0,
//	   0x3C,	//D[7:0] = 3Ch disable command 2 part
    st7796s_cmd		(0xf0);
    st7796s_data	(0x3c);

//	   ST77XX_SLPOUT,	//#define ST77XX_SLPOUT 0x11
//	   ST_CMD_DELAY, // Exit sleep
//	   150,
    st7796s_cmd	(ST77XX_SLPOUT);

//    st7796s_cmd	(0x20);	//	INVOFF jf
    st7796s_cmd	(0x21);	//	INVON jf	Need this to get the colours right !
    st7796s_cmd	(ST77XX_DISPON);	//	#define ST77XX_DISPON 0x29
}

//void	display_test	()	{
//    HAL_Delay	(5);	//	Was 150
//    st7796s_cmd	(ST77XX_DISPON);	//	#define ST77XX_DISPON 0x29
//    HAL_Delay	(5);	//	Was 150
/*	DrawBar	(0, 0, 319, 479, MAGENTA);
	HAL_Delay	(250);
	DrawBar	(10, 10, 200, 350, YELLOW);
	HAL_Delay	(250);
	DrawBar	(50, 50, 160, 310, GREEN);
	HAL_Delay	(250);
	DrawBar	(70, 70, 140, 410, RED);
	HAL_Delay	(250);
	DrawBar	(90, 90, 120, 440, BLUE);
	HAL_Delay	(250);
	DrawBar	(0, 190, LCD_WIDTH - 1, 240, WHITE);
	HAL_Delay	(250);*/
//	DrawString	(size_t const x, size_t const y, const char * const str, sFONT* Font, size_t const BG_Col, size_t const FG_Col)	;
//	DrawString	(25, 25, "Hello World", &Arial_Narrow_Bold19x23, ST77XX_BLACK, ST77XX_CYAN)	;
//}

bool	DrawPixel	(uint32_t X, uint32_t Y, uint16_t Colour)	{
	uint16_t	buff[4];
	if	(!st7796s_set_window(X, Y, X+1, Y+1))
		return	(false);
	buff[0] = (Colour >> 8) | (Colour << 8);
	spi_tx	((uint8_t*)buff, 2);
	return	(true);
}

/*bool	DrawPixel2	(uint32_t X, uint32_t Y, uint16_t Colour)	{
	uint16_t	buff[4];
	if	(!st7796s_set_window(X, Y, X+1, Y+1))
		return	(false);
	buff[0] = buff[1] = buff[2] = buff[3] = (Colour >> 8) | (Colour << 8);
	spi_tx	((uint8_t*)buff, 8);
	return	(true);
}

bool	DrawPixel3	(uint32_t X, uint32_t Y, uint16_t Colour)	{
	uint16_t	buff[12];
	if	(!st7796s_set_window(X-1, Y-1, X+1, Y+1))
		return	(false);
//	buff[0] = (Colour >> 8) | (Colour << 8);
	for	(int i = 0; i < 10; i++)
		buff[i] = (Colour >> 8) | (Colour << 8);
//	spi_tx	((uint8_t*)buff, 2);
	spi_tx	((uint8_t*)buff, 18);
	return	(true);
}*/

#define	GBUFF_SIZE	160

bool	DrawBar	(size_t Xstart, size_t Ystart, size_t Xend, size_t Yend, uint16_t Colour)	{
	if	(!st7796s_set_window(Xstart, Ystart, Xend, Yend))
		return	(false);
	size_t	pixels_to_write = (1 + Xend - Xstart) * (1 + Yend - Ystart);
	uint16_t	colour_swap = ((Colour >> 8) & 0xff) | ((Colour << 8) & 0xff00);
	uint16_t	buff[GBUFF_SIZE];
//	LCD_DATA;
	for	(int i = 0; i < GBUFF_SIZE; i++)
		buff[i] = colour_swap;
	while	(pixels_to_write > GBUFF_SIZE)	{
		pixels_to_write -= GBUFF_SIZE;
		spi_tx	((uint8_t*)buff, GBUFF_SIZE * 2);
	}
	if	(pixels_to_write > 0)
		spi_tx	((uint8_t*)buff, (uint16_t)(pixels_to_write * 2));
	while	(!spi_tx_cplt)	{	}	;
	return	(true);
}

bool	fill_circle	(size_t X, size_t Y, size_t radius, uint16_t colour)	{
#define	MAX_RADIUS	150
#define	MIN_RADIUS	5
/*	if	(
			((X + radius) > LCD_WIDTH)
		||	((Y + radius) > LCD_HEIGHT)
		||	((radius > X))
		||	((radius > Y))
		||	(radius > MAX_RADIUS)
		||	(radius < MIN_RADIUS)
		)
		return	(false);
		*/
	double	sinx;
	double	cosx;
	double	drad = (double)radius;
	size_t	len;
	DrawBar	(X - radius, Y, X + radius, Y + 1, colour);
	for	(size_t i = 1; i < radius; i++)	{
		sinx = ((double)i / drad);
		cosx = sqrt(1.0 - (sinx * sinx));
		len = (size_t)(drad * cosx);
		DrawBar	(X - len, Y + i, X + len, Y + 1 + i, colour);
		DrawBar	(X - len, Y - i, X + len, Y + 1 - i, colour);
	}
	return	(true);
}

/*
 * void	DrawString	(const char * str, sFONT* Font)	{
 * Most efficient way to write text to display
 */
bool	DrawString	(size_t const x, size_t const y, const char * const str, sFONT* Font, uint16_t const BG_Col, uint16_t const FG_Col)	{
	size_t	const	font_bytes_per_row	= (size_t)((Font->Width / 8) + (Font->Width % 8 ? 1 : 0));
	size_t	const	font_bytes_per_char = (Font->Height * font_bytes_per_row);
	size_t	const	chars_to_show = strlen(str);
	uint16_t	dma_buff[LCD_WIDTH];		//	max width of display in pixels
	const uint8_t * 	bitmapptrs[28] ;		//	max string length, stores start addresses of character bitmaps

	if	((x + (chars_to_show * Font->Width)) > LCD_WIDTH)	{	//	trap out requests to print beyond screen limits
//		pc.write	("Gone off edge in JDrawString\r\n", 30);
		return	(false);
	}
	for	(size_t char_num = 0; char_num < chars_to_show;	char_num++)				{	//	for chars in string
		if	((str[char_num] < ' ') || (str[char_num] > (' ' + 96)))		{
//			pc.write	("Bad chars in JDrawString\r\n", 27);
			return	(false);	//	Weeds out invalid chars
		}
		bitmapptrs[char_num]  = Font->table + ((str[char_num] - ' ') * font_bytes_per_char);		//	made ptr to start of font bitmap for all str chars
	}

	st7796s_set_window	(x, y, x - 1 + (chars_to_show * Font->Width), y + Font->Height);
    uint16_t	todmaposition;
    uint8_t		tmp;
    uint16_t	const ColFGsw	= (FG_Col >> 8) | (FG_Col << 8);
    uint16_t	const ColBGsw	= (BG_Col >> 8) | (BG_Col << 8);	//	byte swapped

	for	(size_t height = 0;	height < font_bytes_per_char; height += font_bytes_per_row)	{//	for height of font
    	todmaposition = 0;
		for	(size_t char_num = 0; char_num < chars_to_show;	char_num++)				{	//	for chars in string
			for	(size_t line_bit = 0;	line_bit < Font->Width;	line_bit++)	{			//	for each pixel across width of character
				if	((line_bit & 0x07) == 0)	//	read new byte 1 in 8 times around
					tmp = *(bitmapptrs[char_num] + height + (line_bit >> 3));
				dma_buff[todmaposition++] = tmp & (0x80 >> (line_bit % 8)) ? ColFGsw : ColBGsw;	//	16  bit colour for one bit of char bitmap
			}		//	written one line of one char
		}			//	written one line for all chars in string
    	spi_tx	((uint8_t*)dma_buff, todmaposition * 2);
	}				//	endof for height of font
	while	(!spi_tx_cplt)	{	}	;
    return	(true);
}					//	endof DrawString

bool	touch_rx	(uint8_t * rxbuff, uint16_t len)	{
	uint8_t	values[2] = {0,0};
	HAL_StatusTypeDef	ret;	//	Used to test return results of HAL functions
    ret = HAL_I2C_Master_Transmit	(&hi2c1, FT6X36_ID, values, 1, 100);	//	Set Data Address to 0
    if	(ret != HAL_OK)	{
    	return	(false);	//	write 2 byte address followed by n data
    }
    HAL_Delay	(1);
	ret = HAL_I2C_Master_Receive	(&hi2c1, FT6X36_ID, rxbuff, len, 100);
    if	(ret != HAL_OK)	{
    	return	(false);	//	write 2 byte address followed by n data
    }
    return	(true);
}

void HAL_SPI_TxCpltCallback(SPI_HandleTypeDef * hspi)
{    // TX Done .. Do Something ...
	spi_tx_cplt = true;
	spi_tx_cplt_callback_cnt++;
}

void	spi_tx	(uint8_t * pData, uint16_t Size)	{
	while	(!spi_tx_cplt)	{
	}	;
	spi_tx_cplt = false;
	HAL_SPI_Transmit_DMA	(&hspi1, pData, Size);
}

//bool	spi_tx_free	()	{
//	return	(spi_tx_cplt);
//}

uint32_t	spi_callback_cnt	()	{
	return	(spi_tx_cplt_callback_cnt);
}

void	HAL_TIM_PeriodElapsedCallback(TIM_HandleTypeDef *htim)
{	//	check for timers 2 and 6
}

void HAL_GPIO_EXTI_Callback(uint16_t GPIO_Pin)	//	interrupt from touch screen. Rising edge trigger
{								//	GPIO_PIN_0 for Nucleo lash prototype, GPIO_PIN_15 on proper pcb. See #define PROPER_PCB above
  if(GPIO_Pin == TS_INT_IN_PIN) {	//	Interrupt is from Touch Screen
    exti_cnt++;
    exti_flag = true;
    touch_time = uwTick;		//	Record time of most recent touch
//  } else {	got interrupt from unknown source
  }
}

/* USER CODE END 4 */

void Error_Handler(void)
{
  /* USER CODE BEGIN Error_Handler_Debug */
  /* User can add his own implementation to report the HAL error return state */
  __disable_irq();
  while (1)
  {
	  HAL_GPIO_WritePin(LED_GPIO_Port, LED_Pin, GPIO_PIN_RESET);
	  HAL_Delay	(50);
	  HAL_GPIO_WritePin(LED_GPIO_Port, LED_Pin, GPIO_PIN_SET);
	  HAL_Delay	(50);
  }
  /* USER CODE END Error_Handler_Debug */
}
